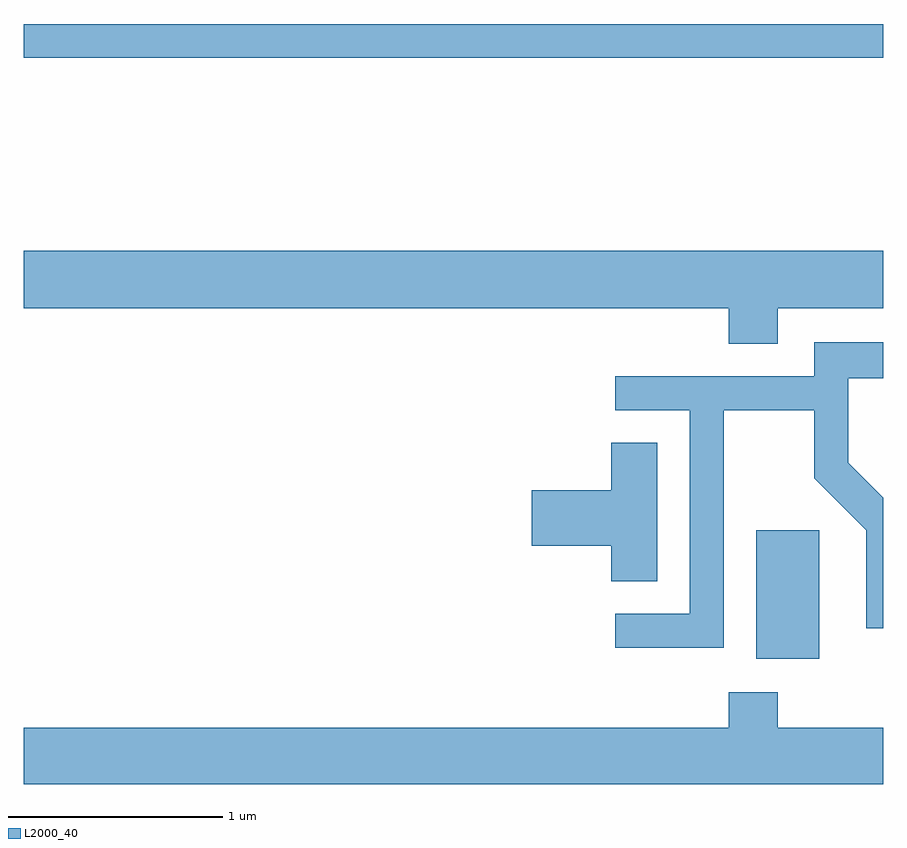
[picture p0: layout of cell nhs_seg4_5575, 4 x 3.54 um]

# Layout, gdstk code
import gdstk
lib = gdstk.Library(unit=1e-6, precision=1e-09)
def R(c, l, rs):  # rectangles x0, y0, x1, y1
    for r in rs: c.add(gdstk.rectangle(r[:2], r[2:], *l))
def P(c, l, *ps):  # polygons
    for p in ps: c.add(gdstk.Polygon(p, *l))
L2000_40 = (2000, 40)

nhs_seg4_5575 = lib.new_cell('nhs_seg4_5575')
R(nhs_seg4_5575, L2000_40, [(351.021,1388.566,351.314,1389.164), (347.611,1391.361,351.611,1391.519)])
P(nhs_seg4_5575, L2000_40, [(351.119,1390.196),(351.611,1390.196),(351.611,1390.464),(347.611,1390.464),(347.611,1390.196),(350.891,1390.196),(350.891,1390.031),(351.119,1390.031)],
  [(350.869,1389.721),(351.291,1389.721),(351.291,1389.404),(351.531,1389.164),(351.531,1388.708),(351.611,1388.708),(351.611,1389.315),(351.449,1389.477),(351.449,1389.871),(351.611,1389.871),(351.611,1390.039),(351.291,1390.039),(351.291,1389.879),(350.363,1389.879),(350.363,1389.721),(350.711,1389.721),(350.711,1388.774),(350.363,1388.774),(350.363,1388.616),(350.869,1388.616)],
  [(350.559,1389.569),(350.346,1389.569),(350.346,1389.349),(349.976,1389.349),(349.976,1389.091),(350.346,1389.091),(350.346,1388.926),(350.559,1388.926)],
  [(351.611,1388.244),(351.119,1388.244),(351.119,1388.409),(350.891,1388.409),(350.891,1388.244),(347.611,1388.244),(347.611,1387.982),(351.611,1387.982)])

lib.write_gds('nhs_seg4_5575.gds')
